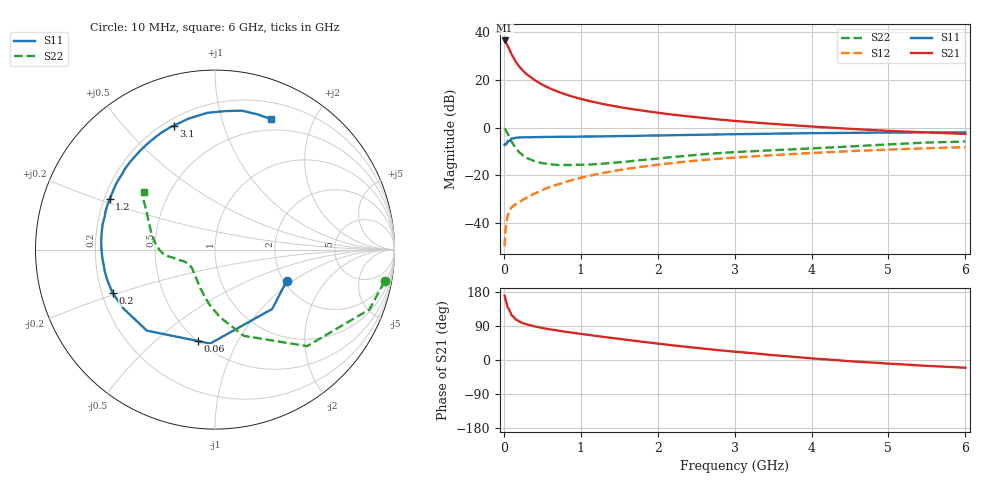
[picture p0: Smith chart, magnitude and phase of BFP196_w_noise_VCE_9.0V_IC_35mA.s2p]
! Infineon Technologies  Discrete & RF Semiconductors
! BFP196
! VCE =  9.0 V,  IC =  35 mA
! Common Emitter S-Parameters:  Jan 2017
# GHz  S  MA  R  50
!  f  S11  S21  S12  S22
! GHz  MAG  ANG  MAG  ANG  MAG  ANG  MAG  ANG
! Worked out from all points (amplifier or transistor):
!   77 points, 10 MHz to 6 GHz, reference 50 ohm
!   highest |S21| = 36.4 dB at 10 MHz (marker M1)
!   |S21| within 3 dB of that: start of sweep to 61.07 MHz
!   unconditionally stable (mu >= 1): 669.2 MHz to 2.367 GHz
!   at 130 MHz: K = 0.50, MSG = 30.8 dB, |S12| = -32.7 dB
!   at 2.2 GHz: K = 1.01, MAG = 9.4 dB, |S12| = -14.9 dB
!   at 6 GHz: K = 0.93, MSG = 2.8 dB, |S12| = -8.2 dB
!   lowest NFmin = 1.28 dB at 450 MHz
!   S11 on the Smith chart (normalised r, x): 10 MHz: 2.07, -0.89; 60 MHz: 0.50, -0.70; 200 MHz: 0.24, -0.19; 1.2 GHz: 0.22, +0.22; 3.1 GHz: 0.24, +0.69; 6 GHz: 0.38, +1.46
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0.01  0.4358 -23.7  66.17 169.7  0.0033 79.1  0.9611 -10.6
0.02  0.4593 -46.0  64.09 160.6  0.0069 74.6  0.9228 -21.2
0.05  0.5241 -92.9  51.01 138.3  0.0145 57.4  0.7437 -46.3
0.06  0.5182 -100.8  47.25 135.5  0.0158 55.6  0.6882 -49.9
0.1  0.59 -130.1  34.01 118.1  0.0213 50.8  0.5075 -71.4
0.15  0.6068 -147.3  24.41 107.9  0.0246 49.5  0.377 -85.9
0.2  0.6196 -157.0  18.88 101.6  0.0271 51.2  0.305 -96.2
0.25  0.6238 -164.1  15.32 97.0  0.0311 52.8  0.2599 -103.9
0.3  0.6258 -168.7  12.85 93.8  0.0345 55.3  0.2303 -110.7
0.4  0.6296 -175.8  9.771 88.5  0.0413 58.8  0.1971 -120.7
0.5  0.6332 178.9  7.842 84.4  0.0492 60.5  0.18 -128.5
0.6  0.6366 174.4  6.574 80.9  0.0574 61.8  0.1711 -135.0
0.7  0.6387 170.8  5.64 77.8  0.0645 63.0  0.1649 -139.8
0.9  0.6411 163.8  4.396 71.7  0.0809 62.7  0.165 -146.8
1.1  0.6485 157.5  3.624 66.3  0.0967 62.1  0.1682 -152.1
1.2  0.6508 154.5  3.326 63.5  0.1046 61.1  0.1714 -154.2
1.6  0.6645 143.3  2.525 53.1  0.1363 57.7  0.1935 -161.2
2.1  0.6853 130.1  1.946 41.0  0.174 51.9  0.2329 -168.2
3.1  0.7279 108.5  1.335 20.3  0.2406 39.6  0.3116 179.6
4.1  0.7643 91.7  1.027 2.9  0.2979 27.9  0.3724 163.7
5.1  0.7878 77.8  0.838 -10.7  0.3497 16.4  0.4517 148.9
6  0.7906 66.6  0.734 -20.5  0.3892 6.3  0.5083 141.0
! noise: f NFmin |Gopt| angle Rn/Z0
0.45  1.28  0.35  173  0.05
0.9  1.44  0.45  -169  0.07
1.9  2.27  0.68  -134  0.27
2.4  2.68  0.71  -121  0.61
